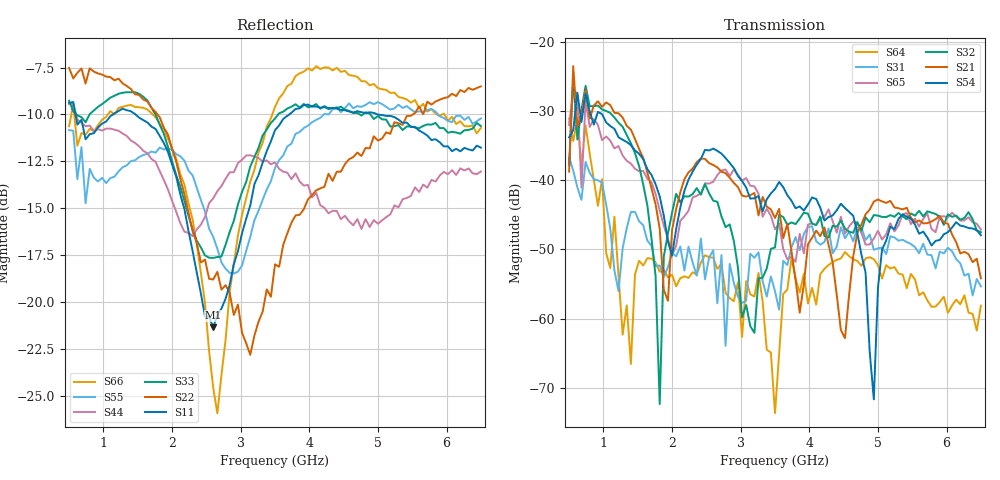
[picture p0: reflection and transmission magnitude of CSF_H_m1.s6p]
!Keysight Technologies,M9804A,MY58100912,A.14.10.03
!Date: Thursday, April 27, 2023 10:28:33
!Correction: S11(C  6-Port  )
!S12(C  6-Port  )
!S13(C  6-Port  )
!S14(C  6-Port  )
!S15(C  6-Port  )
!S16(C  6-Port  )
!S21(C  6-Port  )
!S22(C  6-Port  )
!S23(C  6-Port  )
!S24(C  6-Port  )
!S25(C  6-Port  )
!S26(C  6-Port  )
!S31(C  6-Port  )
!S32(C  6-Port  )
!S33(C  6-Port  )
!S34(C  6-Port  )
!S35(C  6-Port  )
!S36(C  6-Port  )
!S41(C  6-Port  )
!S42(C  6-Port  )
!S43(C  6-Port  )
!S44(C  6-Port  )
!S45(C  6-Port  )
!S46(C  6-Port  )
!S51(C  6-Port  )
!S52(C  6-Port  )
!S53(C  6-Port  )
!S54(C  6-Port  )
!S55(C  6-Port  )
!S56(C  6-Port  )
!S61(C  6-Port  )
!S62(C  6-Port  )
!S63(C  6-Port  )
!S64(C  6-Port  )
!S65(C  6-Port  )
!S66(C  6-Port  )
!S6P File: Measurement: :
# Hz S  RI  R 50
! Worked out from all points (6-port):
!   101 points, 500 MHz to 6.5 GHz, reference 50 ohm
!   strongest paths, dB at 500 MHz, 2 GHz, 3.5 GHz, 5 GHz, 6.5 GHz:
!     S54: -33.8, -50.9, -41.3, -55.6, -48.0
!     S21: -38.8, -47.2, -45.5, -42.8, -54.2
!     S32: -37.8, -44.7, -49.7, -45.1, -47.5
!     S65: -32.0, -50.8, -47.1, -47.3, -47.1
!     S31: -36.7, -50.5, -56.1, -49.8, -55.4
!     S64: -31.1, -53.7, -73.7, -52.3, -58.1
!   lowest |S11| = -21.3 dB at 2.6 GHz (marker M1), VSWR 1.19, Z = 42.4 + j2.3 ohm
!   |S11| at or under -10 dB: 592.9 MHz to 1.141 GHz (548.1 MHz wide, 63.2 % of centre); 1.466 GHz to 3.708 GHz (2.242 GHz wide, 86.7 % of centre); 4.993 GHz to end of sweep
